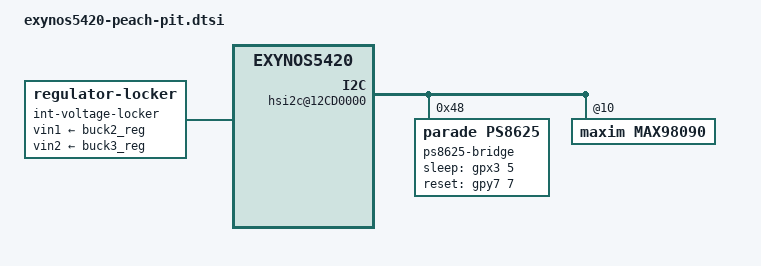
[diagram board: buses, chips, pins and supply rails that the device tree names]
/*
 * Common device tree include for all Peach Pit board revisions
 *
 * Copyright (c) 2013 Google, Inc
 *
 * This program is free software; you can redistribute it and/or modify
 * it under the terms of the GNU General Public License version 2 as
 * published by the Free Software Foundation.
 */

/ {
	pinctrl@13400000 {
		ps8625_reset: ps8625-reset {
			samsung,pins = "gpy7-7";
			samsung,pin-function = <1>;
			samsung,pin-pud = <0>;
			samsung,pin-drv = <0>;
		};

		ps8625_sleep: ps8625-sleep {
			samsung,pins = "gpx3-5";
			samsung,pin-function = <1>;
			samsung,pin-pud = <0>;
			samsung,pin-drv = <0>;
		};
	};

	lcd_display_timings: display-timings {
		native-mode = <&timing0>;
		timing0: 1366x768 {
			clock-frequency = <70589280>;
			hactive = <1366>;
			vactive = <768>;
			hfront-porch = <40>;
			hback-porch = <40>;
			hsync-len = <32>;
			vback-porch = <10>;
			vfront-porch = <12>;
			vsync-len = <6>;
		};
	};

	/* hsi2c7 */
	hsi2c@12CD0000 {
		ps8625-bridge@48 {
			compatible = "parade,ps8625";
			reg = <0x48>;
			sleep-gpio = <&gpx3 5 0>;
			reset-gpio = <&gpy7 7 0>;
			lane-count = <2>;
			use-external-pwm;
			pinctrl-names = "default";
			pinctrl-0 = <&ps8625_sleep &ps8625_reset>;
			display-timings = <&lcd_display_timings>;
		};

		max98090: codec@10 {
			compatible = "maxim,max98090";
		};
	};

	fimd {
		samsung,fimd-src-clk-rate = <70500000>;
		samsung,use-fimd-dithering;
		samsung-rgb-dithpos = <6 6 6>;
	};

	lcd_dp0: lcd_panel0 {
		lcd-htiming = <40 40 32 1366>;
		lcd-vtiming = <10 12 6 768>;
		lcd-dimensions = <256 144>;
	};

	display-port-controller {
		samsung,link-rate = <0x06>;
	};

	usb3_phy0: usbphy@12100000 {
		samsung,txpreempamptune = <0x1>;
	};

	usb3_phy1: usbphy@12500000 {
		samsung,txpreempamptune = <0x1>;
	};

	sound {
		compatible = "google,daisy-audio-max98090";
	};

	int-voltage-locker {
		compatible = "regulator-locker";
		vin1-supply = <&buck2_reg>; /* vdd_arm_real */
		vin2-supply = <&buck3_reg>; /* vdd_int_real */
		maximum-spread = <350000>;
		locker-regulators {
			vout1 {
				regulator-name = "vdd_arm";
				regulator-min-microvolt = <800000>;
				regulator-max-microvolt = <1500000>;
				regulator-always-on;
				regulator-boot-on;
			};
			vout2 {
				regulator-name = "vdd_int";
				regulator-min-microvolt = <800000>;
				regulator-max-microvolt = <1400000>;
				regulator-always-on;
				regulator-boot-on;
			};
		};
	};
};
